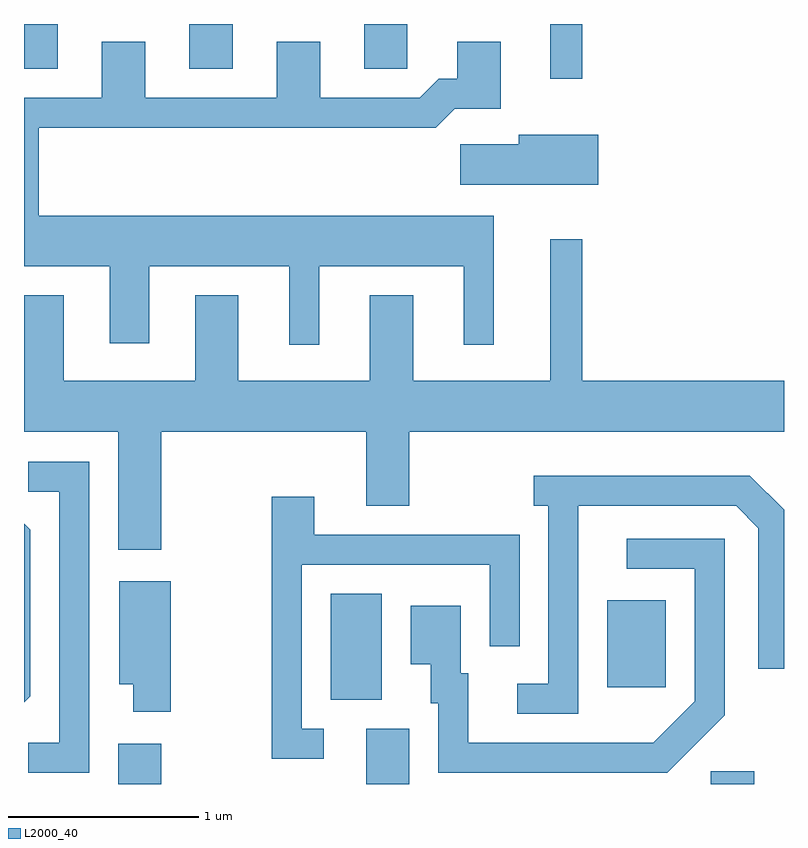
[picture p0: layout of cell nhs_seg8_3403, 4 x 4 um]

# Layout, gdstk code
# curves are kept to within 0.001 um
import gdstk
lib = gdstk.Library(unit=1e-6, precision=1e-09)
def R(c, l, rs):  # rectangles x0, y0, x1, y1
    for r in rs: c.add(gdstk.rectangle(r[:2], r[2:], *l))
def P(c, l, *ps):  # polygons
    for p in ps: c.add(gdstk.Polygon(p, *l))
L2000_40 = (2000, 40)

nhs_seg8_3403 = lib.new_cell('nhs_seg8_3403')
R(nhs_seg8_3403, L2000_40, [(288.106,1832.342,288.334,1832.554), (289.411,1832.342,289.639,1832.634), (291.226,1832.342,291.454,1832.409), (289.226,1832.786,289.494,1833.344), (290.681,1832.851,290.989,1833.309), (290.381,1836.053,290.549,1836.342), (287.611,1836.106,287.789,1836.342), (288.481,1836.106,288.709,1836.342), (289.401,1836.106,289.629,1836.342)])
P(nhs_seg8_3403, L2000_40, [(289.164,1835.066),(289.926,1835.066),(289.926,1834.653),(290.084,1834.653),(290.084,1835.334),(287.689,1835.334),(287.689,1835.796),(289.777,1835.796),(289.877,1835.896),(290.119,1835.896),(290.119,1836.249),(289.891,1836.249),(289.891,1836.054),(289.794,1836.054),(289.694,1835.954),(289.169,1835.954),(289.169,1836.249),(288.941,1836.249),(288.941,1835.954),(288.249,1835.954),(288.249,1836.249),(288.021,1836.249),(288.021,1835.954),(287.611,1835.954),(287.611,1835.066),(288.061,1835.066),(288.061,1834.661),(288.269,1834.661),(288.269,1835.066),(289.006,1835.066),(289.006,1834.653),(289.164,1834.653)],
  [(290.634,1835.759),(290.216,1835.759),(290.216,1835.709),(289.906,1835.709),(289.906,1835.496),(290.634,1835.496)],
  [(287.819,1834.914),(287.611,1834.914),(287.611,1834.196),(288.106,1834.196),(288.106,1833.576),(288.334,1833.576),(288.334,1834.196),(289.411,1834.196),(289.411,1833.806),(289.639,1833.806),(289.639,1834.196),(291.611,1834.196),(291.611,1834.464),(290.549,1834.464),(290.549,1835.208),(290.381,1835.208),(290.381,1834.464),(289.659,1834.464),(289.659,1834.914),(289.431,1834.914),(289.431,1834.464),(288.739,1834.464),(288.739,1834.914),(288.511,1834.914),(288.511,1834.464),(287.819,1834.464)],
  [(287.954,1834.039),(287.633,1834.039),(287.633,1833.881),(287.796,1833.881),(287.796,1832.559),(287.633,1832.559),(287.633,1832.401),(287.954,1832.401)],
  [(290.529,1833.806),(291.359,1833.806),(291.476,1833.689),(291.476,1832.948),(291.611,1832.948),(291.611,1833.785),(291.432,1833.964),(290.293,1833.964),(290.293,1833.806),(290.371,1833.806),(290.371,1832.869),(290.208,1832.869),(290.208,1832.711),(290.529,1832.711)],
  [(289.188,1832.634),(289.074,1832.634),(289.074,1833.496),(290.061,1833.496),(290.061,1833.068),(290.219,1833.068),(290.219,1833.654),(289.139,1833.654),(289.139,1833.854),(288.916,1833.854),(288.916,1832.476),(289.188,1832.476)],
  [(287.644,1832.804),(287.644,1833.679),(287.611,1833.712),(287.611,1832.771)],
  [(291.299,1832.704),(291.299,1833.634),(290.783,1833.634),(290.783,1833.476),(291.141,1833.476),(291.141,1832.777),(290.924,1832.559),(289.949,1832.559),(289.949,1832.924),(289.909,1832.924),(289.909,1833.279),(289.646,1833.279),(289.646,1832.971),(289.751,1832.971),(289.751,1832.766),(289.791,1832.766),(289.791,1832.401),(290.997,1832.401)],
  [(288.384,1833.409),(288.111,1833.409),(288.111,1832.866),(288.186,1832.866),(288.186,1832.721),(288.384,1832.721)])

lib.write_gds('nhs_seg8_3403.gds')
